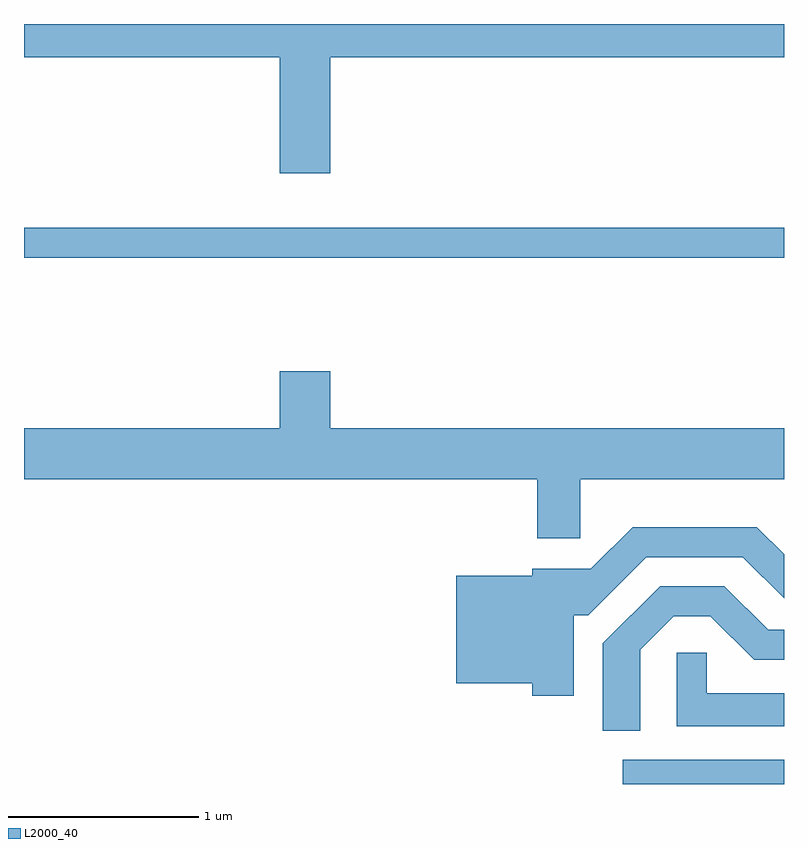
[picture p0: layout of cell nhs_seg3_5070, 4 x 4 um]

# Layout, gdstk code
import gdstk
lib = gdstk.Library(unit=1e-6, precision=1e-09)
def R(c, l, rs):  # rectangles x0, y0, x1, y1
    for r in rs: c.add(gdstk.rectangle(r[:2], r[2:], *l))
def P(c, l, *ps):  # polygons
    for p in ps: c.add(gdstk.Polygon(p, *l))
L2000_40 = (2000, 40)

nhs_seg3_5070 = lib.new_cell('nhs_seg3_5070')
R(nhs_seg3_5070, L2000_40, [(336.763,1199.892,337.611,1200.019), (333.611,1202.661,337.611,1202.819)])
P(nhs_seg3_5070, L2000_40, [(335.224,1203.716),(337.611,1203.716),(337.611,1203.892),(333.611,1203.892),(333.611,1203.716),(334.956,1203.716),(334.956,1203.106),(335.224,1203.106)],
  [(336.539,1201.496),(337.611,1201.496),(337.611,1201.764),(335.224,1201.764),(335.224,1202.064),(334.956,1202.064),(334.956,1201.764),(333.611,1201.764),(333.611,1201.496),(336.311,1201.496),(336.311,1201.186),(336.539,1201.186)],
  [(336.504,1200.781),(336.582,1200.781),(336.887,1201.086),(337.394,1201.086),(337.611,1200.869),(337.611,1201.1),(337.467,1201.244),(336.814,1201.244),(336.594,1201.024),(336.286,1201.024),(336.286,1200.989),(335.886,1200.989),(335.886,1200.421),(336.286,1200.421),(336.286,1200.356),(336.504,1200.356)],
  [(336.854,1200.599),(337.032,1200.776),(337.224,1200.776),(337.454,1200.546),(337.611,1200.546),(337.611,1200.704),(337.527,1200.704),(337.297,1200.934),(336.959,1200.934),(336.656,1200.632),(336.656,1200.171),(336.854,1200.171)],
  [(337.611,1200.369),(337.204,1200.369),(337.204,1200.583),(337.046,1200.583),(337.046,1200.196),(337.611,1200.196)])

lib.write_gds('nhs_seg3_5070.gds')
